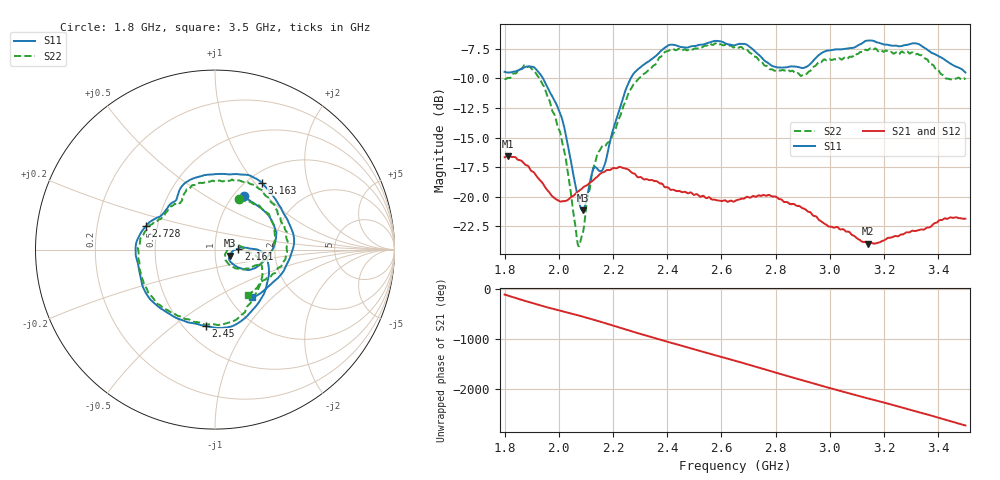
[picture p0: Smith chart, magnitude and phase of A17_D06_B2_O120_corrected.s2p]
! Created with skrf 1.9.0 (http://scikit-rf.org).
# Hz S RI R 50.0
!freq ReS11 ImS11 ReS21 ImS21 ReS12 ImS12 ReS22 ImS22
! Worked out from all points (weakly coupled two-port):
!   1601 points, 1.8 GHz to 3.5 GHz, reference 50 ohm
!   highest |S21| = -16.59 dB at 1.812 GHz (marker M1); lowest = -24.0 dB at 3.142 GHz (marker M2)
!   lowest |S11| = -21.2 dB at 2.088 GHz (marker M3), VSWR 1.19, Z = 58.7 - j3.95 ohm
!   |S11| at or under -10 dB: 1.942 GHz to 2.265 GHz (323.8 MHz wide, 15.4 % of centre)
!   |S22| runs from -24.2 to -7.0 dB; largest |S21 - S12| = 0.0024
!   S11 on the Smith chart (normalised r, x): 1.8 GHz: 1.12, +0.75; 2.161 GHz: 1.30, +0.01; 2.45 GHz: 0.63, -0.66; 2.728 GHz: 0.43, +0.13; 3.163 GHz: 1.16, +1.09; 3.5 GHz: 1.27, -0.75
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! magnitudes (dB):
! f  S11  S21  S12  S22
! 1.8 GHz  -9.4  -16.7  -16.7  -10.0
! 1.812 GHz  -9.5  -16.6  -16.6  -10.0
! 1.88 GHz  -9.0  -17.3  -17.3  -9.0
! 1.942 GHz  -10.0  -18.9  -18.9  -10.6
! 2.011 GHz  -13.4  -20.4  -20.4  -15.3
! 2.068 GHz  -19.8  -19.6  -19.6  -23.7
! 2.084 GHz  -21.1  -19.3  -19.3  -23.4
! 2.088 GHz  -21.2  -19.3  -19.3  -23.1
! 2.127 GHz  -17.7  -18.6  -18.6  -17.6
! 2.161 GHz  -17.7  -18.0  -17.9  -15.7
! 2.262 GHz  -10.1  -17.8  -17.8  -11.0
! 2.367 GHz  -7.9  -18.8  -18.7  -8.4
! 2.45 GHz  -7.4  -19.6  -19.6  -7.6
! 2.65 GHz  -7.2  -20.4  -20.3  -7.3
! 2.728 GHz  -7.8  -20.0  -20.0  -8.2
! 2.806 GHz  -9.1  -20.1  -20.1  -9.3
! 2.934 GHz  -8.6  -21.5  -21.5  -9.2
! 3.142 GHz  -6.8  -24.0  -23.9  -7.6
! 3.163 GHz  -6.8  -24.0  -23.9  -7.5
! 3.217 GHz  -7.2  -23.5  -23.4  -7.8
! 3.325 GHz  -7.1  -22.8  -22.8  -7.9
! 3.5 GHz  -9.5  -21.9  -21.8  -10.1
